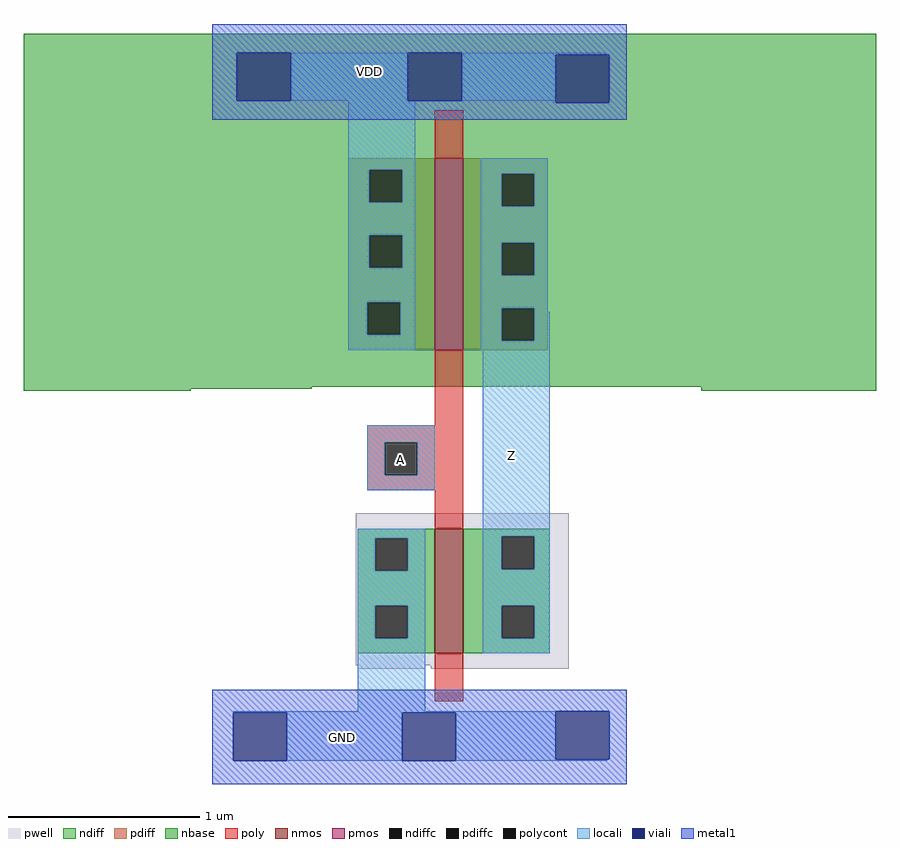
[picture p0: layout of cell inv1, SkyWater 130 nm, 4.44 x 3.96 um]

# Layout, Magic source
magic
tech sky130A
<< pwell >>
rect -91 -104 20 -25
rect -90 -106 -55 -104
rect -52 -106 20 -104
<< nbase >>
rect -264 41 180 225
rect -264 40 -114 41
rect -264 39 -177 40
rect 89 39 180 41
<< nmos >>
rect -50 -98 -35 -33
<< pmos >>
rect -50 60 -35 160
<< ndiff >>
rect -90 -38 -50 -33
rect -90 -55 -81 -38
rect -64 -55 -50 -38
rect -90 -73 -50 -55
rect -90 -90 -81 -73
rect -64 -90 -50 -73
rect -90 -98 -50 -90
rect -35 -37 10 -33
rect -35 -54 -15 -37
rect 2 -54 10 -37
rect -35 -73 10 -54
rect -35 -90 -15 -73
rect 2 -90 10 -73
rect -35 -98 10 -90
<< pdiff >>
rect -95 154 -50 160
rect -95 137 -84 154
rect -67 137 -50 154
rect -95 120 -50 137
rect -95 103 -84 120
rect -67 103 -50 120
rect -95 85 -50 103
rect -95 68 -85 85
rect -68 68 -50 85
rect -95 60 -50 68
rect -35 152 9 160
rect -35 135 -15 152
rect 2 135 9 152
rect -35 116 9 135
rect -35 99 -15 116
rect 2 99 9 116
rect -35 82 9 99
rect -35 65 -15 82
rect 2 65 9 82
rect -35 60 9 65
<< ndiffc >>
rect -81 -55 -64 -38
rect -81 -90 -64 -73
rect -15 -54 2 -37
rect -15 -90 2 -73
<< pdiffc >>
rect -84 137 -67 154
rect -84 103 -67 120
rect -85 68 -68 85
rect -15 135 2 152
rect -15 99 2 116
rect -15 65 2 82
<< poly >>
rect -50 160 -35 185
rect -50 21 -35 60
rect -85 12 -35 21
rect -85 -5 -76 12
rect -59 -5 -35 12
rect -85 -13 -35 -5
rect -50 -33 -35 -13
rect -50 -123 -35 -98
<< polycont >>
rect -76 -5 -59 12
<< locali >>
rect -125 190 -64 215
rect -36 214 39 215
rect -36 190 13 214
rect -95 154 -60 190
rect -95 137 -84 154
rect -67 137 -60 154
rect -95 120 -60 137
rect -95 103 -84 120
rect -67 103 -60 120
rect -95 85 -60 103
rect -95 68 -85 85
rect -68 68 -60 85
rect -95 60 -60 68
rect -26 152 9 160
rect -26 135 -15 152
rect 2 135 9 152
rect -26 116 9 135
rect -26 99 -15 116
rect 2 99 9 116
rect -26 82 9 99
rect -26 65 -15 82
rect 2 80 9 82
rect 2 65 10 80
rect -26 60 10 65
rect -85 12 -50 21
rect -85 -5 -76 12
rect -59 -5 -50 12
rect -85 -13 -50 -5
rect -90 -38 -55 -33
rect -90 -55 -81 -38
rect -64 -55 -55 -38
rect -90 -73 -55 -55
rect -90 -90 -81 -73
rect -64 -90 -55 -73
rect -90 -128 -55 -90
rect -25 -37 10 60
rect -25 -54 -15 -37
rect 2 -54 10 -37
rect -25 -73 10 -54
rect -25 -90 -15 -73
rect 2 -90 10 -73
rect -25 -98 10 -90
rect -155 -129 13 -128
rect -127 -154 -67 -129
rect -39 -153 13 -129
rect -39 -154 40 -153
<< viali >>
rect -153 190 -125 215
rect -64 190 -36 215
rect 13 189 41 214
rect -155 -154 -127 -129
rect -67 -154 -39 -129
rect 13 -153 41 -128
<< metal1 >>
rect -166 215 50 230
rect -166 190 -153 215
rect -125 190 -64 215
rect -36 214 50 215
rect -36 190 13 214
rect -166 189 13 190
rect 41 189 50 214
rect -166 180 50 189
rect -166 -128 50 -117
rect -166 -129 13 -128
rect -166 -154 -155 -129
rect -127 -154 -67 -129
rect -39 -153 13 -129
rect 41 -153 50 -128
rect -39 -154 50 -153
rect -166 -166 50 -154
<< labels >>
rlabel metal1 -98 -142 -98 -142 1 GND
rlabel polycont -68 3 -68 3 1 A
rlabel locali -10 5 -10 5 1 Z
rlabel metal1 -84 205 -84 205 1 VDD
<< end >>
